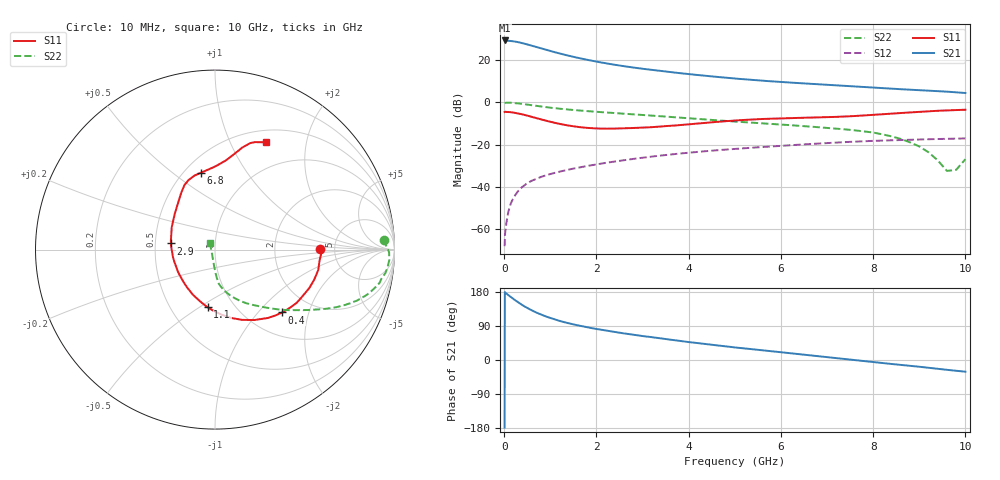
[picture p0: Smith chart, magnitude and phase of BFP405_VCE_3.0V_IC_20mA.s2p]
! Infineon Technologies  Discrete & RF Semiconductors
! BFP405
! VCE =  3.0 V,  IC =  20 mA
! Common Emitter S-Parameters:  Jan 2016
# GHz  S  MA  R  50
!  f  S11  S21  S12  S22
! GHz  MAG  ANG  MAG  ANG  MAG  ANG  MAG  ANG
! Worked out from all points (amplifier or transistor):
!   233 points, 10 MHz to 10 GHz, reference 50 ohm
!   highest |S21| = 29.1 dB at 10 MHz (marker M1)
!   |S21| within 3 dB of that: start of sweep to 682.6 MHz
!   unconditionally stable (mu >= 1): start of sweep to 23.06 MHz; 1.856 GHz to end of sweep
!   at 200 MHz: K = 0.24, MSG = 37.0 dB, |S12| = -45.4 dB
!   at 1.74 GHz: K = 0.97, MSG = 25.3 dB, |S12| = -30.4 dB
!   at 10 GHz: K = 1.36, MAG = 7.1 dB, |S12| = -17.1 dB
!   S11 on the Smith chart (normalised r, x): 10 MHz: 3.82, +0.01; 400 MHz: 1.43, -1.36; 1.1 GHz: 0.75, -0.54; 2.9 GHz: 0.60, +0.04; 6.8 GHz: 0.60, +0.63; 10 GHz: 0.65, +1.37
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0.01  0.5852 0.1  28.49 -178.4  0.0004 96.9  0.9406 3.3
0.02  0.5926 -2.0  28.35 177.2  0.0008 99.8  0.9582 0.8
0.05  0.5859 -5.5  28.01 175.2  0.0014 93.0  0.9702 -0.9
0.1  0.5863 -11.2  27.99 170.2  0.0028 83.1  0.9729 -3.4
0.2  0.567 -22.3  27.17 161.2  0.0054 80.8  0.9585 -7.8
0.3  0.5429 -33.2  26.04 152.6  0.0079 77.0  0.9355 -11.4
0.4  0.5128 -43.1  24.59 144.5  0.0101 73.8  0.9042 -14.6
0.5  0.4815 -52.3  23.04 137.3  0.0122 71.3  0.8733 -17.3
0.6  0.4496 -60.8  21.41 130.8  0.014 69.3  0.8425 -19.6
0.7  0.4197 -68.9  19.92 125.0  0.0156 67.6  0.8134 -21.5
0.9  0.3669 -83.5  17.25 115.0  0.0187 65.5  0.7616 -24.6
1.1  0.3245 -97.2  15.03 106.8  0.0215 64.1  0.7188 -27.0
1.4  0.28 -116.1  12.41 96.8  0.0256 62.9  0.6667 -30.0
1.68  0.254 -132.1  10.61 89.2  0.0294 62.1  0.628 -32.3
2.18  0.2367 -158.5  8.328 78.1  0.0365 60.4  0.573 -36.1
2.9  0.2479 172.0  6.334 65.0  0.0473 56.7  0.5075 -41.4
3.4  0.2659 155.5  5.419 56.9  0.055 53.4  0.4642 -45.3
5.1  0.3746 119.4  3.532 32.0  0.0803 40.8  0.3422 -60.3
6.8  0.4347 100.7  2.634 10.1  0.1052 27.3  0.2566 -73.5
8.4  0.5357 79.3  2.073 -10.5  0.1259 12.4  0.1557 -86.5
9.6  0.6389 69.6  1.766 -25.9  0.1364 2.1  0.0238 -139.9
10  0.6616 64.6  1.641 -30.9  0.1392 -0.9  0.045 129.4
